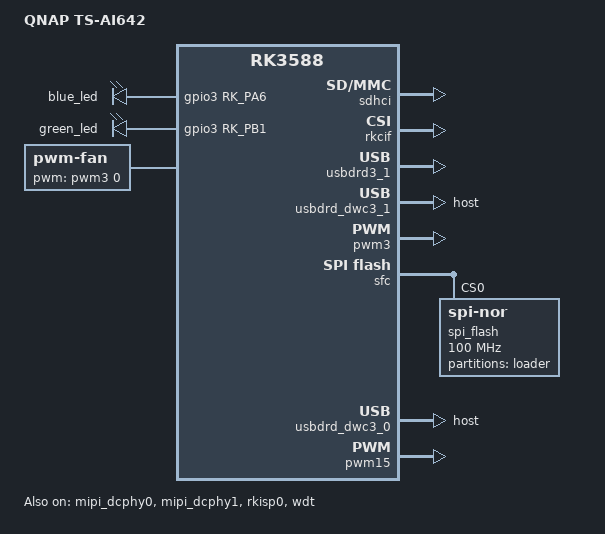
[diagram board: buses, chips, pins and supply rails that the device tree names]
// SPDX-License-Identifier: (GPL-2.0+ OR MIT)
/*
 * Copyright (c) 2021 Rockchip Electronics Co., Ltd.
 *
 */

/dts-v1/;

#include "rk3588-orangepi-5-plus.dtsi"
#include <dt-bindings/input/rk-ir.h>
//#include "rk3588-linux.dtsi"
//#include "rk3588-orangepi-5-plus-lcd.dtsi"
//#include "rk3588-orangepi-5-plus-camera1.dtsi"

/ {
/*
	model = "RK3588 OPi 5 Plus";
	compatible = "rockchip,rk3588-orangepi-5-plus", "rockchip,rk3588";
*/

	model = "QNAP TS-AI642";
	compatible = "rockchip,rk3588-nvr-demo-v10", "rockchip,rk3588";

    aliases {
        mmc0 = &sdhci;
        mmc1 = &sdmmc;
    };

	fiq_debugger: fiq-debugger {
		compatible = "rockchip,fiq-debugger";
		rockchip,serial-id = <2>;
		rockchip,wake-irq = <0>;
		/* If enable uart uses irq instead of fiq */
		rockchip,irq-mode-enable = <1>;
		rockchip,baudrate = <115200>;  /* Only 115200 and 1500000 */
		interrupts = <GIC_SPI 423 IRQ_TYPE_LEVEL_LOW>;
		pinctrl-names = "default";
		pinctrl-0 = <&uart2m0_xfer>;
		status = "okay";
	};


	leds: gpio-leds {
		compatible = "gpio-leds";
		pinctrl-names = "default";
		pinctrl-0 =<&leds_rgb>;
		status = "okay";

		blue_led@1 {
			gpios = <&gpio3 RK_PA6 GPIO_ACTIVE_HIGH>;
			label = "blue_led";
			linux,default-trigger = "heartbeat";
			linux,default-trigger-delay-ms = <0>;
		};

		green_led@2 {
			gpios = <&gpio3 RK_PB1 GPIO_ACTIVE_HIGH>;
			label = "green_led";
			linux,default-trigger = "heartbeat";
			linux,default-trigger-delay-ms = <0>;
		};
	};

	fan: pwm-fan {
		compatible = "pwm-fan";
		#cooling-cells = <2>;
		pwms = <&pwm3 0 50000 0>;
		cooling-levels = <0 50 100 150 200 255>;
		rockchip,temp-trips = <
			50000   1
			55000   2
			60000   3
			65000   4
			70000   5
		>;

		status = "okay";
	};
};

&sdhci {
    status = "okay";
};

&sdmmc {
    status = "disabled";
};

&mipi_dcphy0 {
	status = "okay";
};

&mipi_dcphy1 {
	status = "okay";
};

&rkcif {
        status = "okay";
};

&rkcif_mmu {
        status = "okay";
};

&rkisp0 {
        status = "okay";
};

&isp0_mmu {
        status = "okay";
};

&usbdrd3_1 {
	status = "okay";
};

&usbdrd_dwc3_1 {
	dr_mode = "host";
	status = "okay";
};

/* Fan */
&pwm3 {
	status = "okay";
	pinctrl-names = "active";
	pinctrl-0 = <&pwm3m1_pins>;
};

/* watchdog */
&wdt {
	status = "okay";
};

&sfc {
	status = "okay";
	max-freq = <100000000>;
	#address-cells = <1>;
	#size-cells = <0>;
	pinctrl-names = "default";
	pinctrl-0 = <&fspim1_pins>;

	spi_flash: spi-flash@0 {
		#address-cells = <1>;
		#size-cells = <0>;
		compatible = "jedec,spi-nor";
		reg = <0x0>;
		spi-max-frequency = <100000000>;
		spi-tx-bus-width = <1>;
		spi-rx-bus-width = <4>;
		status = "okay";

		partitions {
			compatible = "fixed-partitions";
			#address-cells = <1>;
			#size-cells = <1>;

			loader@0 {
				label = "loader";
				reg = <0x0 0x1000000>;
			};
		};
	};
};

&pinctrl {
	leds_gpio {
		leds_rgb: leds-rgb {
		        rockchip,pins = <3 RK_PA6 RK_FUNC_GPIO &pcfg_pull_up>,
					<3 RK_PB1 RK_FUNC_GPIO &pcfg_pull_up>;
		};
	};
};

/*** 40 pins ***/
&i2c2 {
	status = "disabled";
	pinctrl-names = "default";
	pinctrl-0 = <&i2c2m0_xfer>;
};

&can0 {
	status = "disabled";
	pinctrl-names = "default";
	pinctrl-0 = <&can0m0_pins>;
	assigned-clocks = <&cru CLK_CAN0>;
	assigned-clock-rates = <200000000>;
};

&can1 {
	status = "disabled";
	pinctrl-names = "default";
	pinctrl-0 = <&can1m0_pins>;
	assigned-clocks = <&cru CLK_CAN1>;
	assigned-clock-rates = <200000000>;
};

&pwm0 {
	status = "disabled";
};

&pwm1 {
	status = "disabled";
};

&pwm14 {
	status = "disabled";
};

&spi0 {
	status = "disabled";
	assigned-clocks = <&cru CLK_SPI0>;
	assigned-clock-rates = <200000000>;
	num-cs = <2>;
};

&uart3 {
	status = "disabled";
	pinctrl-names = "default";
	pinctrl-0 = <&uart3m1_xfer>;
};

&uart4 {
	status = "disabled";
	pinctrl-names = "default";
	pinctrl-0 = <&uart4m2_xfer>;
};

&i2c2 {
	status = "disabled";
	pinctrl-names = "default";
	pinctrl-0 = <&i2c2m4_xfer>;
};

&i2c4 {
	status = "disabled";
	pinctrl-names = "default";
	pinctrl-0 = <&i2c4m3_xfer>;
};

&i2c5 {
	status = "disabled";
	pinctrl-names = "default";
	pinctrl-0 = <&i2c5m3_xfer>;
};

&i2c8 {
	status = "disabled";
	pinctrl-names = "default";
	pinctrl-0 = <&i2c8m2_xfer>;
};

&uart1 {
	status = "disabled";
	pinctrl-names = "default";
	pinctrl-0 = <&uart1m1_xfer>;
};

&uart6 {
	status = "disabled";
	pinctrl-names = "default";
	pinctrl-0 = <&uart6m1_xfer>;
};

&uart7 {
	status = "disabled";
	pinctrl-names = "default";
	pinctrl-0 = <&uart7m2_xfer>;
};

&uart8 {
	status = "disabled";
	pinctrl-names = "default";
	pinctrl-0 = <&uart8m1_xfer>;
};

&pwm10 {
	status = "disabled";
	pinctrl-names = "active";
	pinctrl-0 = <&pwm10m0_pins>;
};

&pwm11 {
	status = "disabled";
	pinctrl-names = "active";
	pinctrl-0 = <&pwm11m0_pins>;
};

&pwm12 {
	status = "disabled";
	pinctrl-names = "active";
	pinctrl-0 = <&pwm12m0_pins>;
};

&pwm13 {
	status = "disabled";
	pinctrl-names = "active";
	pinctrl-0 = <&pwm13m2_pins>;
	//pinctrl-0 = <&pwm13m0_pins>;
};

&spi4 {
	status = "disabled";
	assigned-clocks = <&cru CLK_SPI4>;
	assigned-clock-rates = <200000000>;
	num-cs = <2>;
};
/*** 40 pins ***/

&hdmirx_ctrler {
	status = "disabled";
};

&usbdrd_dwc3_0 {
	status = "okay";
	dr_mode = "host";
};

&pwm15 {
	compatible = "rockchip,remotectl-pwm";
	pinctrl-names = "default";
	pinctrl-0 = <&pwm15m1_pins>;
	remote_pwm_id = <3>;
	handle_cpu_id = <1>;
	remote_support_psci = <0>;
	status = "okay";

	ir_key1 { //jp-box
		rockchip,usercode = <0xfd01>;
		rockchip,key_table =
			//<0x31   KEY_REPLY>,
			<0x31	KEY_ENTER>,
			<0x2f   KEY_BACK>,
			<0x35   KEY_UP>,
			<0x2d   KEY_DOWN>,
			<0x66   KEY_LEFT>,
			<0x3e   KEY_RIGHT>,
			<0x6a   KEY_HOME>,
			<0x5e   KEY_VOLUMEUP>,
			<0x47   KEY_VOLUMEDOWN>,
			<0x23   KEY_POWER>,
			//<0x3a   388>,
			<0x3a   KEY_M>,
			//<0x0d   KEY_O>;
			<0x0d   KEY_Q>;
	};

	/*for IPTV ltjc*/
	ir_key2 {
		rockchip,usercode = <0xc43b>;
		rockchip,key_table =
			<0x7e	KEY_ENTER>,
			<0x7f	KEY_BACK>,
			<0x7a	KEY_UP>,
			<0x78	KEY_DOWN>,
			<0x7b	KEY_LEFT>,
			<0x79	KEY_RIGHT>,
			<0x66	KEY_VOLUMEUP>,
			<0x65	KEY_VOLUMEDOWN>,
			<0x69	KEY_POWER>,
			<0x64	KEY_MUTE>,
			<0x76	KEY_1>,
			<0x75	KEY_2>,
			<0x74	KEY_3>,
			<0x73	KEY_4>,
			<0x72	KEY_5>,
			<0x71	KEY_6>,
			<0x70	KEY_7>,
			<0x6f	KEY_8>,
			<0x6e	KEY_9>,
			<0x77	KEY_0>,
			<0x7c	KEY_PAGEDOWN>,
			<0x7d	KEY_PAGEUP>,
			<0x6a	KEY_SETUP>,
			<0x68	KEY_CHANNEL_UP>,
			<0x67	KEY_CHANNEL_DN>,
			<0x39	KEY_PORTAL>,
			<0x29	KEY_HOME_PAGE>,
			<0x33	KEY_CH_CUT_BACK>,
			<0x34   KEY_LOCAL>,
			<0x2d	KEY_REVIEW>,
			<0x2c	KEY_ON_DEMAND>,
			<0x2b	KEY_INFO1>,
			<0x2e	KEY_DIRECT_SEEDING>,
			<0x2d	KEY_REVIEW>,
			<0x2c	KEY_ON_DEMAND>,
			<0x2b	KEY_INFO1>,
			<0x63	KEY_SOUND1>,
			<0x6c	KEY_X1>,
			<0x6d	KEY_X2>,
			<0x62	KEY_PLAYPAUSE>,
			<0x6b	KEY_EQUAL>,
			<0x61	KEY_FASTFORWARD>,
			<0x60	KEY_REWIND>,
			<0x3b	KEY_STOP>,
			<0x35  KEY_BLUE>,
			<0x36  KEY_YELLOW>,
			<0x37  KEY_GREEN>,
			<0x38  KEY_RED>;
	};

	ir_key3 {
		rockchip,usercode = <0x1dcc>;
		rockchip,key_table =
			<0xee	KEY_ENTER>,
			<0xf0	KEY_BACK>,
			<0xf8	KEY_UP>,
			<0xbb	KEY_DOWN>,
			<0xef	KEY_LEFT>,
			<0xed	KEY_RIGHT>,
			<0xfc	KEY_HOME>,
			<0xf1	KEY_VOLUMEUP>,
			<0xfd	KEY_VOLUMEDOWN>,
			<0xb7	KEY_SEARCH>,
			<0xff	KEY_POWER>,
			<0xf3	KEY_MUTE>,
			<0xbf	KEY_MENU>,
			<0xf9	0x191>,
			<0xf5	0x192>,
			<0xb3	388>,
			<0xbe	KEY_1>,
			<0xba	KEY_2>,
			<0xb2	KEY_3>,
			<0xbd	KEY_4>,
			<0xf9	KEY_5>,
			<0xb1	KEY_6>,
			<0xfc	KEY_7>,
			<0xf8	KEY_8>,
			<0xb0	KEY_9>,
			<0xb6	KEY_0>,
			<0xb5	KEY_BACKSPACE>;
	};

	/* for IPTV */
	ir_key4 {
		rockchip,usercode = <0x4db2>;
		rockchip,key_table =
			<0x31   KEY_ENTER>,
			<0x3a   KEY_BACK>,
			<0x35   KEY_UP>,
			<0x2d   KEY_DOWN>,
			<0x66   KEY_LEFT>,
			<0x3e   KEY_RIGHT>,
			<0x7f   KEY_VOLUMEUP>,
			<0xfe   KEY_VOLUMEDOWN>,
			<0x23   KEY_POWER>,
			<0x63   KEY_MUTE>,
			<0x6d   KEY_1>,
			<0x6c   KEY_2>,
			<0x33   KEY_3>,
			<0x71   KEY_4>,
			<0x70   KEY_5>,
			<0x37   KEY_6>,
			<0x75   KEY_7>,
			<0x74   KEY_8>,
			<0x3b   KEY_9>,
			<0x78   KEY_0>,
			<0x73   KEY_PAGEDOWN>,
			<0x22   KEY_PAGEUP>,
			<0x72   KEY_SETUP>,
			<0x7a   KEY_CHANNEL_UP>,
			<0x79   KEY_CHANNEL_DN>,
			<0x77   KEY_HOME_PAGE>,
			<0x29   KEY_CH_CUT_BACK>,
			<0x32   KEY_DIRECT_SEEDING>,
			<0x6e   KEY_REVIEW>,
			<0x7c   KEY_ON_DEMAND>,
			<0x3c   KEY_INFO1>,
			<0x67   KEY_SOUND1>,
			<0x25   KEY_X1>,
			<0x2f   KEY_X2>,
			<0x7d   KEY_LOCAL>,
			<0x6a   KEY_PLAYPAUSE>,
			<0x0b   KEY_EQUAL>;
	};

	/* for CMCC */
	ir_key5 {
		rockchip,usercode = <0x1608>;
		rockchip,key_table =
			<0x4c   KEY_ENTER>,
			<0x4d   KEY_BACK>,
			<0x4b   KEY_UP>,
			<0x4a   KEY_DOWN>,
			<0x49   KEY_LEFT>,
			<0x48   KEY_RIGHT>,
			<0x4e   KEY_HOME>,
			<0x0b   KEY_VOLUMEUP>,
			<0x0c   KEY_VOLUMEDOWN>,
			<0x23   KEY_POWER>,
			<0x45   KEY_MUTE>,
			<0x44   KEY_MENU>,
			<0x78   KEY_1>,
			<0x77   KEY_2>,
			<0x76   KEY_3>,
			<0x75   KEY_4>,
			<0x74   KEY_5>,
			<0x73   KEY_6>,
			<0x72   KEY_7>,
			<0x71   KEY_8>,
			<0x70   KEY_9>,
			<0x79   KEY_0>,
			<0x43   KEY_EQUAL>,
			<0x72   KEY_X1>,
			<0x5f   KEY_SETUP>,
			<0x25   KEY_DIRECT_SEEDING>,
			<0x24   KEY_REVIEW>,
			<0x21   KEY_ON_DEMAND>,
			<0x20   KEY_INFO1>;
	};

	/* rk new remote */
	ir_key6 {
		rockchip,usercode = <0xfe01>;
		rockchip,key_table =
			<0xec   KEY_ENTER>,
			<0xe6   KEY_BACK>,
			<0xe9   KEY_UP>,
			<0xe5   KEY_DOWN>,
			<0xae   KEY_LEFT>,
			<0xaf   KEY_RIGHT>,
			<0xee   KEY_HOME>,
			<0xe7   KEY_VOLUMEUP>,
			<0xef   KEY_VOLUMEDOWN>,
			<0xbf   KEY_POWER>,
			<0xbe   KEY_MUTE>,
			<0xb3   KEY_MENU>,
			<0xff   388>,
			<0xb1   KEY_1>,
			<0xf2   KEY_2>,
			<0xf3   KEY_3>,
			<0xb5   KEY_4>,
			<0xf6   KEY_5>,
			<0xf7   KEY_6>,
			<0xb9   KEY_7>,
			<0xfa   KEY_8>,
			<0xfb   KEY_9>,
			<0xfe   KEY_0>,
			<0xbd   KEY_EQUAL>,
			<0xbc   KEY_SETUP>,
			<0xf0   KEY_LOCAL>,
			<0x0d   KEY_DIRECT_SEEDING>,
			<0x0c   KEY_REVIEW>,
			<0x0b   KEY_ON_DEMAND>,
			<0x0a   KEY_INFO1>,
			<0x0e   KEY_CH_CUT_BACK>;
	};

	/* for IPTV gd */
	ir_key7 {
		rockchip,usercode = <0x4cb3>;
		rockchip,key_table =
			<0x31   KEY_ENTER>,
			<0x3a   KEY_BACK>,
			<0x35   KEY_UP>,
			<0x2d   KEY_DOWN>,
			<0x66   KEY_LEFT>,
			<0x3e   KEY_RIGHT>,
			<0x7f   KEY_VOLUMEUP>,
			<0x7e   KEY_VOLUMEDOWN>,
			<0x23   KEY_POWER>,
			<0x63   KEY_MUTE>,
			<0x6d   KEY_1>,
			<0x6c   KEY_2>,
			<0x33   KEY_3>,
			<0x71   KEY_4>,
			<0x70   KEY_5>,
			<0x37   KEY_6>,
			<0x75   KEY_7>,
			<0x74   KEY_8>,
			<0x3b   KEY_9>,
			<0x78   KEY_0>,
			<0x73   KEY_PAGEDOWN>,
			<0x22   KEY_PAGEUP>,
			<0x72   KEY_SETUP>,
			<0x7a   KEY_CHANNEL_UP>,
			<0x79   KEY_CHANNEL_DN>,
			<0x77   KEY_HOME_PAGE>,
			<0x29   KEY_CH_CUT_BACK>,
			<0x32   KEY_DIRECT_SEEDING>,
			<0x6e   KEY_REVIEW>,
			<0x7c   KEY_ON_DEMAND>,
			<0x3c   KEY_INFO1>,
			<0x67   KEY_SOUND1>,
			<0x25   KEY_X1>,
			<0x2f   KEY_X2>,
			<0x7d   KEY_LOCAL>,
			<0x6a   KEY_PLAYPAUSE>,
			<0x0b   KEY_EQUAL>;
	};

	/* for CMCC */
	ir_key8 {
		rockchip,usercode = <0xdd22>;
		rockchip,key_table =
			<0x31   KEY_ENTER>,
			<0x6a   KEY_BACK>,
			<0x35   KEY_UP>,
			<0x2d   KEY_DOWN>,
			<0x66   KEY_LEFT>,
			<0x3e   KEY_RIGHT>,
			<0x7f   KEY_VOLUMEUP>,
			<0x7e   KEY_VOLUMEDOWN>,
			<0x23   KEY_POWER>,
			<0x63   KEY_MUTE>,
			<0x6d   KEY_1>,
			<0x6c   KEY_2>,
			<0x33   KEY_3>,
			<0x71   KEY_4>,
			<0x70   KEY_5>,
			<0x37   KEY_6>,
			<0x75   KEY_7>,
			<0x74   KEY_8>,
			<0x3b   KEY_9>,
			<0x78   KEY_0>,
			<0x73   KEY_PAGEDOWN>,
			<0x22   KEY_PAGEUP>,
			<0x72   KEY_SETUP>,
			<0x7a   KEY_CHANNEL_UP>,
			<0x79   KEY_CHANNEL_DN>,
			<0x77   KEY_HOME_PAGE>,
			<0x2f   KEY_CH_CUT_BACK>,
			<0x32   KEY_DIRECT_SEEDING>,
			<0x6e   KEY_REVIEW>,
			<0x7c   KEY_ON_DEMAND>,
			<0x3c   KEY_INFO1>,
			<0x3a   KEY_HELP>,
			<0x67   KEY_SOUND1>,
			<0x25   KEY_X2>,
			<0x7d   KEY_MENU>,
			<0x3f   KEY_EQUAL>,
			<0x29   388>,
			<0x26   KEY_PLAYPAUSE>,
			<0x76   401>,
			<0x7b   400>,
			<0x69   66>;
	};

	/* for BJLT IPTV */
	ir_key9 {
		rockchip,usercode = <0x3bc4>;
		rockchip,key_table =
			<0x81   KEY_ENTER>,
			<0x80   KEY_BACK>,
			<0x85   KEY_UP>,
			<0x87   KEY_DOWN>,
			<0x84   KEY_LEFT>,
			<0x86   KEY_RIGHT>,
			<0x99   KEY_VOLUMEUP>,
			<0x9a   KEY_VOLUMEDOWN>,
			<0x96   KEY_POWER>,
			<0x9b   KEY_MUTE>,
			<0x89   KEY_1>,
			<0x8a   KEY_2>,
			<0x8b   KEY_3>,
			<0x8c   KEY_4>,
			<0x8d   KEY_5>,
			<0x8e   KEY_6>,
			<0x8f   KEY_7>,
			<0x90   KEY_8>,
			<0x91   KEY_9>,
			<0x88   KEY_0>,
			<0x83   KEY_PAGEDOWN>,
			<0x82   KEY_PAGEUP>,
			<0x95   KEY_SETUP>,
			<0x97   KEY_CHANNEL_UP>,
			<0x98   KEY_CHANNEL_DN>,
			<0xc6   KEY_LOCAL>,
			<0xd6   KEY_HOME_PAGE>,
			<0xd7   KEY_TRACK>,
			<0xcc   KEY_CH_CUT_BACK>,
			<0xc3   KEY_INTERX>,
			<0xd1   KEY_DIRECT_SEEDING>,
			<0xd2   KEY_REVIEW>,
			<0xd3   KEY_ON_DEMAND>,
			<0xd4   KEY_INFO1>,
			<0xc7   KEY_DIRECT_SEEDING>,
			<0xc8   KEY_REVIEW>,
			<0xc9   KEY_ON_DEMAND>,
			<0xca   KEY_INFO1>,
			<0xcd   KEY_FAVORITE>,
			<0xce   KEY_CHANNEL_POS>,
			<0xcf   KEY_HELP>,
			<0xd0   KEY_EVENT>,
			<0x9c   KEY_SOUND1>,
			<0x93   KEY_X1>,
			<0x92   KEY_X2>,
			<0xc0   KEY_END>,
			<0xc1   KEY_GO_BEGINNING>,
			<0x9d   KEY_PLAYPAUSE>,
			<0xc4   KEY_STOP>,
			<0x94   KEY_EQUAL>,
			<0x9e   KEY_YELLOW>,
			<0x9f   KEY_BLUE>,
			<0xcb   KEY_APPLICATION>,
			<0xc5   KEY_POS>;
	};

	ir_key10 {
		rockchip,usercode = <0xff00>;
		rockchip,key_table =
			<0xf9	KEY_HOME>,
			<0xbf	KEY_BACK>,
			<0xfb	KEY_MENU>,
			<0xaa	KEY_ENTER>,
			<0xb9	KEY_UP>,
			<0xe9	KEY_DOWN>,
			<0xb8	KEY_LEFT>,
			<0xea	KEY_RIGHT>,
			<0xeb	KEY_VOLUMEDOWN>,
			<0xef	KEY_VOLUMEUP>,
			<0xf7	KEY_MUTE>,
			<0xe7	KEY_POWER>,
			<0xfc	KEY_POWER>,
			<0xa9	KEY_VOLUMEDOWN>,
			<0xa8	KEY_PLAYPAUSE>,
			<0xe0	KEY_VOLUMEDOWN>,
			<0xa5	KEY_VOLUMEDOWN>,
			<0xab	183>,
			<0xb7	388>,
			<0xe8	388>,
			<0xf8	184>,
			<0xaf	185>,
			<0xed	KEY_VOLUMEDOWN>,
			<0xee	186>,
			<0xb3	KEY_VOLUMEDOWN>,
			<0xf1	KEY_VOLUMEDOWN>,
			<0xf2	KEY_VOLUMEDOWN>,
			<0xf3	KEY_SEARCH>,
			<0xb4	KEY_VOLUMEDOWN>,
			<0xa4	KEY_SETUP>,
			<0xbe	KEY_SEARCH>;
	};

	ir_key11 {
		rockchip,usercode = <0xfb04>;
		rockchip,key_table =
			<0xa3   KEY_ENTER>,
			<0xe4   388>,
			<0xf5   KEY_BACK>,
			<0xbb   KEY_UP>,
			<0xe2   KEY_DOWN>,
			<0xe3   KEY_LEFT>,
			<0xb7   KEY_RIGHT>,
			<0xe0   KEY_HOME>,
			<0xba   KEY_VOLUMEUP>,
			<0xda   KEY_VOLUMEUP>,
			<0xe6   KEY_VOLUMEDOWN>,
			<0xdb   KEY_VOLUMEDOWN>,
			<0xbc   KEY_SEARCH>,
			<0xb2   KEY_POWER>,
			<0xe5   KEY_POWER>,
			<0xde   KEY_POWER>,
			<0xdc   KEY_MUTE>,
			<0xa2   KEY_MENU>,
			<0xec   KEY_1>,
			<0xef   KEY_2>,
			<0xee   KEY_3>,
			<0xf0   KEY_4>,
			<0xf3   KEY_5>,
			<0xf2   KEY_6>,
			<0xf4   KEY_7>,
			<0xf7   KEY_8>,
			<0xf6   KEY_9>,
			<0xb8   KEY_0>;
	};
};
